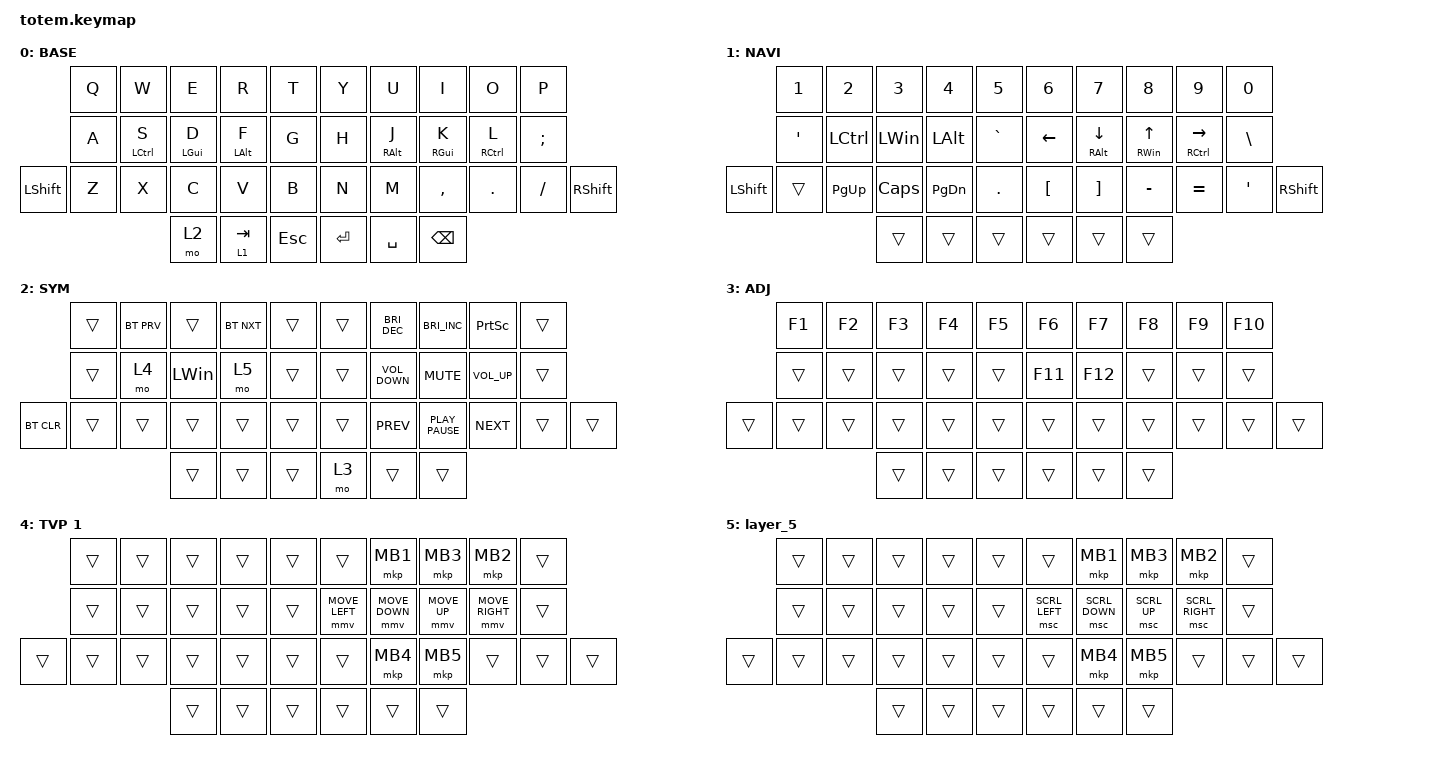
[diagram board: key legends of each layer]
//
//                                                        ▀▀▀▀▀     ▀▀▀▀▀          ▀▀█▀▀
//                                                        ▄▀▀▀▄  ▄  ▄▀▀▀▄  ▄  ▄▀▀▀▄  █  ▄▀▀▀▄
//                                                        █   █  █  █   █  █  █   █  █  █   █
//                                                         ▀▀▀   █   ▀▀▀   █   ▀▀▀   ▀   ▀▀▀
//                                                               █      ▄▄▄█▄▄▄    █   █
//                                                               ▀      █  █  █     █▄█
//                                                             ▀▀▀▀▀    █  █  █      ▀
//                                                                      ▀  ▀  ▀
//
// ▄▄▄▄▄▄▄▄▄▄▄▄▄▄▄▄▄▄▄▄▄▄▄▄▄▄▄▄▄▄▄▄▄▄▄▄▄▄▄▄▄▄▄▄▄▄▄▄▄▄▄▄▄▄▄▄▄▄▄▄▄▄▄▄▄▄▄▄▄▄▄▄▄▄▄▄▄▄▄▄▄▄▄▄▄▄▄▄▄▄▄▄▄▄▄▄▄▄▄▄▄▄▄▄▄▄▄▄▄▄▄▄▄▄▄▄▄▄▄▄▄▄▄▄▄▄▄▄▄▄▄▄▄▄▄▄▄▄▄▄▄▄▄▄▄▄▄▄▄

#define ZMK_POINTING_DEFAULT_MOVE_VAL 1500
#define ZMK_POINTING_DEFAULT_SCRL_VAL 20

#include <behaviors.dtsi>
#include <dt-bindings/zmk/bt.h>
#include <dt-bindings/zmk/keys.h>
#include <dt-bindings/zmk/pointing.h>

#define BASE 0
#define NAV  1
#define SYM  2
#define ADJ  3
#define TVP1 4
#define TVP2 5

&mt {
    quick-tap-ms = <100>;
    global-quick-tap;
    flavor = "tap-preferred";
    tapping-term-ms = <170>;
};

/ {
    combos { compatible = "zmk,combos"; };

    macros {
        gif: gif {
            label = "giphy";
            compatible = "zmk,behavior-macro";
            #binding-cells = <0>;
            bindings =
                <&macro_press>,
                <&kp LSHFT>,
                <&macro_tap>,
                <&kp N2>,
                <&macro_release>,
                <&kp LSHFT>,
                <&macro_tap>,
                <&kp G &kp I &kp F>;
        };
    };

    keymap {
        compatible = "zmk,keymap";

        // ▄▄▄▄▄▄▄▄▄▄▄▄▄▄▄▄▄▄▄▄▄▄▄▄▄▄▄▄▄▄▄▄▄▄▄▄▄▄▄▄▄▄▄▄▄▄▄▄▄▄▄▄▄▄▄▄▄▄▄▄▄▄▄▄▄▄▄▄▄▄▄▄▄▄▄▄▄▄▄▄▄▄▄▄▄▄▄▄▄▄▄▄▄▄▄▄▄▄▄▄▄▄▄▄▄▄▄▄▄▄▄▄▄▄▄▄▄▄▄▄▄▄▄▄▄▄▄▄▄▄▄▄▄▄▄▄▄▄▄▄▄▄▄▄▄▄▄▄▄

        base_layer {
            // ┏━━━━━━━━━━━━━━━━━━━━━━━━━━━━━━━━━━━━━━━┓

            label = "BASE";

            // ┗━━━━━━━━━━━━━━━━━━━━━━━━━━━━━━━━━━━━━━━┛
            //             ┏━━━━━━━━━━━┳━━━━━━━━━━━┳━━━━━━━━━━━┳━━━━━━━━━━━┳━━━━━━━━━━━┓   ┏━━━━━━━━━━━┳━━━━━━━━━━━┳━━━━━━━━━━━┳━━━━━━━━━━━┳━━━━━━━━━━━┓
            //             ┃     Q     ┃     W     ┃     F     ┃     P     ┃     G     ┃   ┃     J     ┃     L     ┃     U     ┃     Y     ┃     ;     ┃
            //             ┣━━━━━━━━━━━╋━━━━━━━━━━━╋━━━━━━━━━━━╋━━━━━━━━━━━╋━━━━━━━━━━━┫   ┣━━━━━━━━━━━╋━━━━━━━━━━━╋━━━━━━━━━━━╋━━━━━━━━━━━╋━━━━━━━━━━━┫
            //             ┃     A     ┃     R     ┃     S     ┃     T     ┃     D     ┃   ┃     H     ┃     N     ┃     E     ┃     I     ┃     O     ┃
            // ┏━━━━━━━━━━━╋━━━━━━━━━━━╋━━━━━━━━━━━╋━━━━━━━━━━━╋━━━━━━━━━━━╋━━━━━━━━━━━┫   ┣━━━━━━━━━━━╋━━━━━━━━━━━╋━━━━━━━━━━━╋━━━━━━━━━━━╋━━━━━━━━━━━╋━━━━━━━━━━━┓
            // ┃     Q     ┃     Z     ┃     X     ┃     C     ┃     V     ┃     B     ┃   ┃     K     ┃     M     ┃     ,     ┃     .     ┃     /     ┃     \     ┃
            // ┗━━━━━━━━━━━┻━━━━━━━━━━━┻━━━━━━━━━━━╋━━━━━━━━━━━╋━━━━━━━━━━━╋━━━━━━━━━━━┫   ┣━━━━━━━━━━━╋━━━━━━━━━━━╋━━━━━━━━━━━╋━━━━━━━━━━━┻━━━━━━━━━━━┻━━━━━━━━━━━┛
            //                                     ┃    DEL    ┃    TAB    ┃    SPC    ┃   ┃   ENTER   ┃           ┃   BSPC    ┃
            //                                     ┗━━━━━━━━━━━┻━━━━━━━━━━━┻━━━━━━━━━━━┛   ┗━━━━━━━━━━━┻━━━━━━━━━━━┻━━━━━━━━━━━┛

            bindings = <
                &kp Q  &kp W               &kp E           &kp R           &kp T         &kp Y    &kp U            &kp I            &kp O                &kp P
                &kp A  &mt LEFT_CONTROL S  &mt LEFT_GUI D  &mt LEFT_ALT F  &kp G         &kp H    &mt RIGHT_ALT J  &mt RIGHT_GUI K  &mt RIGHT_CONTROL L  &kp SEMICOLON
&kp LEFT_SHIFT  &kp Z  &kp X               &kp C           &kp V           &kp B         &kp N    &kp M            &kp COMMA        &kp DOT              &kp FSLH       &kp RIGHT_SHIFT
                                           &mo 2           &lt 1 TAB       &kp ESCAPE    &kp RET  &kp SPACE        &kp BSPC
            >;
        };

        // ▄▄▄▄▄▄▄▄▄▄▄▄▄▄▄▄▄▄▄▄▄▄▄▄▄▄▄▄▄▄▄▄▄▄▄▄▄▄▄▄▄▄▄▄▄▄▄▄▄▄▄▄▄▄▄▄▄▄▄▄▄▄▄▄▄▄▄▄▄▄▄▄▄▄▄▄▄▄▄▄▄▄▄▄▄▄▄▄▄▄▄▄▄▄▄▄▄▄▄▄▄▄▄▄▄▄▄▄▄▄▄▄▄▄▄▄▄▄▄▄▄▄▄▄▄▄▄▄▄▄▄▄▄▄▄▄▄▄▄▄▄▄▄▄▄▄▄▄▄

        nav_layer {
            // ┏━━━━━━━━━━━━━━━━━━━━━━━━━━━━━━━━━━━━━━━┓

            label = "NAVI";

            // ┗━━━━━━━━━━━━━━━━━━━━━━━━━━━━━━━━━━━━━━━┛
            //             ┏━━━━━━━━━━━┳━━━━━━━━━━━┳━━━━━━━━━━━┳━━━━━━━━━━━┳━━━━━━━━━━━┓   ┏━━━━━━━━━━━┳━━━━━━━━━━━┳━━━━━━━━━━━┳━━━━━━━━━━━┳━━━━━━━━━━━┓
            //             ┃           ┃           ┃     UP    ┃           ┃     {     ┃   ┃     }     ┃     7     ┃     8     ┃     9     ┃     +     ┃
            //             ┣━━━━━━━━━━━╋━━━━━━━━━━━╋━━━━━━━━━━━╋━━━━━━━━━━━╋━━━━━━━━━━━┫   ┣━━━━━━━━━━━╋━━━━━━━━━━━╋━━━━━━━━━━━╋━━━━━━━━━━━╋━━━━━━━━━━━┫
            //             ┃   SHIFT   ┃   LEFT    ┃    DOWN   ┃   RIGHT   ┃     [     ┃   ┃     ]     ┃     4     ┃     5     ┃     6     ┃     -     ┃
            // ┏━━━━━━━━━━━╋━━━━━━━━━━━╋━━━━━━━━━━━╋━━━━━━━━━━━╋━━━━━━━━━━━╋━━━━━━━━━━━┫   ┣━━━━━━━━━━━╋━━━━━━━━━━━╋━━━━━━━━━━━╋━━━━━━━━━━━╋━━━━━━━━━━━╋━━━━━━━━━━━┓
            // ┃           ┃           ┃   P UP    ┃  C LOCK   ┃  P DOWN   ┃     (     ┃   ┃     )     ┃     1     ┃     2     ┃     3     ┃     *     ┃           ┃
            // ┗━━━━━━━━━━━┻━━━━━━━━━━━┻━━━━━━━━━━━╋━━━━━━━━━━━╋━━━━━━━━━━━╋━━━━━━━━━━━┫   ┣━━━━━━━━━━━╋━━━━━━━━━━━╋━━━━━━━━━━━╋━━━━━━━━━━━┻━━━━━━━━━━━┻━━━━━━━━━━━┛
            //                                     ┃           ┃    TAB    ┃    SPC    ┃   ┃    DEL    ┃     0     ┃           ┃
            //                                     ┗━━━━━━━━━━━┻━━━━━━━━━━━┻━━━━━━━━━━━┛   ┗━━━━━━━━━━━┻━━━━━━━━━━━┻━━━━━━━━━━━┛

            bindings = <
                &kp NUMBER_1      &kp NUMBER_2      &kp NUMBER_3  &kp NUMBER_4  &kp NUMBER_5    &kp NUMBER_6      &kp N7                    &kp N8                  &kp N9                   &kp N0
                &kp SINGLE_QUOTE  &kp LEFT_CONTROL  &kp LEFT_WIN  &kp LEFT_ALT  &kp GRAVE       &kp LEFT_ARROW    &mt RIGHT_ALT DOWN_ARROW  &mt RIGHT_WIN UP_ARROW  &mt RIGHT_CONTROL RIGHT  &kp BACKSLASH
&kp LEFT_SHIFT  &trans            &kp PG_UP         &kp CAPS      &kp PG_DN     &kp PERIOD      &kp LEFT_BRACKET  &kp RIGHT_BRACKET         &kp MINUS               &kp EQUAL                &kp SINGLE_QUOTE  &kp RIGHT_SHIFT
                                                    &trans        &trans        &trans          &trans            &trans                    &trans
            >;
        };

        // ▄▄▄▄▄▄▄▄▄▄▄▄▄▄▄▄▄▄▄▄▄▄▄▄▄▄▄▄▄▄▄▄▄▄▄▄▄▄▄▄▄▄▄▄▄▄▄▄▄▄▄▄▄▄▄▄▄▄▄▄▄▄▄▄▄▄▄▄▄▄▄▄▄▄▄▄▄▄▄▄▄▄▄▄▄▄▄▄▄▄▄▄▄▄▄▄▄▄▄▄▄▄▄▄▄▄▄▄▄▄▄▄▄▄▄▄▄▄▄▄▄▄▄▄▄▄▄▄▄▄▄▄▄▄▄▄▄▄▄▄▄▄▄▄▄▄▄▄▄

        sim_layer {
            // ┏━━━━━━━━━━━━━━━━━━━━━━━━━━━━━━━━━━━━━━━┓

            label = "SYM";

            // ┗━━━━━━━━━━━━━━━━━━━━━━━━━━━━━━━━━━━━━━━┛
            //             ┏━━━━━━━━━━━┳━━━━━━━━━━━┳━━━━━━━━━━━┳━━━━━━━━━━━┳━━━━━━━━━━━┓   ┏━━━━━━━━━━━┳━━━━━━━━━━━┳━━━━━━━━━━━┳━━━━━━━━━━━┳━━━━━━━━━━━┓
            //             ┃     !     ┃     @     ┃     #     ┃     $     ┃     %     ┃   ┃     ˆ     ┃     &     ┃     Ü     ┃     '     ┃     "     ┃
            //             ┣━━━━━━━━━━━╋━━━━━━━━━━━╋━━━━━━━━━━━╋━━━━━━━━━━━╋━━━━━━━━━━━┫   ┣━━━━━━━━━━━╋━━━━━━━━━━━╋━━━━━━━━━━━╋━━━━━━━━━━━╋━━━━━━━━━━━┫
            //             ┃     Ä     ┃           ┃    SZ     ┃           ┃           ┃   ┃   MUTE    ┃   YEN     ┃   EURO    ┃  POUND    ┃     Ö     ┃
            // ┏━━━━━━━━━━━╋━━━━━━━━━━━╋━━━━━━━━━━━╋━━━━━━━━━━━╋━━━━━━━━━━━╋━━━━━━━━━━━┫   ┣━━━━━━━━━━━╋━━━━━━━━━━━╋━━━━━━━━━━━╋━━━━━━━━━━━╋━━━━━━━━━━━╋━━━━━━━━━━━┓
            // ┃           ┃  EMAIL1   ┃  EMAIL2   ┃           ┃           ┃           ┃   ┃   VOL-    ┃   VOL+    ┃   LAST    ┃   NEXT    ┃     \     ┃           ┃
            // ┗━━━━━━━━━━━┻━━━━━━━━━━━┻━━━━━━━━━━━╋━━━━━━━━━━━╋━━━━━━━━━━━╋━━━━━━━━━━━┫   ┣━━━━━━━━━━━╋━━━━━━━━━━━╋━━━━━━━━━━━╋━━━━━━━━━━━┻━━━━━━━━━━━┻━━━━━━━━━━━┛
            //                                     ┃           ┃    GIF    ┃    ADJ    ┃   ┃           ┃           ┃           ┃
            //                                     ┗━━━━━━━━━━━┻━━━━━━━━━━━┻━━━━━━━━━━━┛   ┗━━━━━━━━━━━┻━━━━━━━━━━━┻━━━━━━━━━━━┛

            bindings = <
            &trans  &bt BT_PRV  &trans        &bt BT_NXT  &trans    &trans  &kp C_BRIGHTNESS_DEC  &kp C_BRIGHTNESS_INC  &kp PRINTSCREEN  &trans
            &trans  &mo 4       &kp LEFT_WIN  &mo 5       &trans    &trans  &kp K_VOLUME_DOWN     &kp K_MUTE            &kp K_VOLUME_UP  &trans
&bt BT_CLR  &trans  &trans      &trans        &trans      &trans    &trans  &kp K_PREV            &kp K_PLAY_PAUSE      &kp K_NEXT       &trans  &trans
                                &trans        &trans      &trans    &mo 3   &trans                &trans
            >;
        };

        // ▄▄▄▄▄▄▄▄▄▄▄▄▄▄▄▄▄▄▄▄▄▄▄▄▄▄▄▄▄▄▄▄▄▄▄▄▄▄▄▄▄▄▄▄▄▄▄▄▄▄▄▄▄▄▄▄▄▄▄▄▄▄▄▄▄▄▄▄▄▄▄▄▄▄▄▄▄▄▄▄▄▄▄▄▄▄▄▄▄▄▄▄▄▄▄▄▄▄▄▄▄▄▄▄▄▄▄▄▄▄▄▄▄▄▄▄▄▄▄▄▄▄▄▄▄▄▄▄▄▄▄▄▄▄▄▄▄▄▄▄▄▄▄▄▄▄▄▄▄

        adjust_layer {
            // ┏━━━━━━━━━━━━━━━━━━━━━━━━━━━━━━━━━━━━━━━┓

            label = "ADJ";

            // ┗━━━━━━━━━━━━━━━━━━━━━━━━━━━━━━━━━━━━━━━┛
            //             ┏━━━━━━━━━━━┳━━━━━━━━━━━┳━━━━━━━━━━━┳━━━━━━━━━━━┳━━━━━━━━━━━┓   ┏━━━━━━━━━━━┳━━━━━━━━━━━┳━━━━━━━━━━━┳━━━━━━━━━━━┳━━━━━━━━━━━┓
            //             ┃   RESET   ┃ BT CLEAR  ┃  OUT TOG  ┃           ┃           ┃   ┃           ┃    F7     ┃    F8     ┃    F9     ┃    F12    ┃
            //             ┣━━━━━━━━━━━╋━━━━━━━━━━━╋━━━━━━━━━━━╋━━━━━━━━━━━╋━━━━━━━━━━━┫   ┣━━━━━━━━━━━╋━━━━━━━━━━━╋━━━━━━━━━━━╋━━━━━━━━━━━╋━━━━━━━━━━━┫
            //             ┃ BOOTLOAD  ┃ BT NEXT   ┃           ┃           ┃           ┃   ┃           ┃    F4     ┃    F5     ┃    F6     ┃    F11    ┃
            // ┏━━━━━━━━━━━╋━━━━━━━━━━━╋━━━━━━━━━━━╋━━━━━━━━━━━╋━━━━━━━━━━━╋━━━━━━━━━━━┫   ┣━━━━━━━━━━━╋━━━━━━━━━━━╋━━━━━━━━━━━╋━━━━━━━━━━━╋━━━━━━━━━━━╋━━━━━━━━━━━┓
            // ┃           ┃           ┃ BT PREV   ┃           ┃           ┃           ┃   ┃           ┃    F1     ┃    F2     ┃    F3     ┃    F10    ┃           ┃
            // ┗━━━━━━━━━━━┻━━━━━━━━━━━┻━━━━━━━━━━━╋━━━━━━━━━━━╋━━━━━━━━━━━╋━━━━━━━━━━━┫   ┣━━━━━━━━━━━╋━━━━━━━━━━━╋━━━━━━━━━━━╋━━━━━━━━━━━┻━━━━━━━━━━━┻━━━━━━━━━━━┛
            //                                     ┃           ┃           ┃           ┃   ┃           ┃           ┃           ┃
            //                                     ┗━━━━━━━━━━━┻━━━━━━━━━━━┻━━━━━━━━━━━┛   ┗━━━━━━━━━━━┻━━━━━━━━━━━┻━━━━━━━━━━━┛

            bindings = <
        &kp F1  &kp F2  &kp F3  &kp F4  &kp F5    &kp F6   &kp F7   &kp F8  &kp F9  &kp F10
        &trans  &trans  &trans  &trans  &trans    &kp F11  &kp F12  &trans  &trans  &trans
&trans  &trans  &trans  &trans  &trans  &trans    &trans   &trans   &trans  &trans  &trans   &trans
                        &trans  &trans  &trans    &trans   &trans   &trans
            >;
        };

        // ▄▄▄▄▄▄▄▄▄▄▄▄▄▄▄▄▄▄▄▄▄▄▄▄▄▄▄▄▄▄▄▄▄▄▄▄▄▄▄▄▄▄▄▄▄▄▄▄▄▄▄▄▄▄▄▄▄▄▄▄▄▄▄▄▄▄▄▄▄▄▄▄▄▄▄▄▄▄▄▄▄▄▄▄▄▄▄▄▄▄▄▄▄▄▄▄▄▄▄▄▄▄▄▄▄▄▄▄▄▄▄▄▄▄▄▄▄▄▄▄▄▄▄▄▄▄▄▄▄▄▄▄▄▄▄▄▄▄▄▄▄▄▄▄▄▄▄▄▄

        tvp1_layer {
            // ┏━━━━━━━━━━━━━━━━━━━━━━━━━━━━━━━━━━━━━━━┓

            label = "TVP 1";

            // ┗━━━━━━━━━━━━━━━━━━━━━━━━━━━━━━━━━━━━━━━┛
            //             ┏━━━━━━━━━━━┳━━━━━━━━━━━┳━━━━━━━━━━━┳━━━━━━━━━━━┳━━━━━━━━━━━┓   ┏━━━━━━━━━━━┳━━━━━━━━━━━┳━━━━━━━━━━━┳━━━━━━━━━━━┳━━━━━━━━━━━┓
            //             ┃   RESET   ┃ BT CLEAR  ┃  OUT TOG  ┃           ┃           ┃   ┃           ┃    F7     ┃    F8     ┃    F9     ┃    F12    ┃
            //             ┣━━━━━━━━━━━╋━━━━━━━━━━━╋━━━━━━━━━━━╋━━━━━━━━━━━╋━━━━━━━━━━━┫   ┣━━━━━━━━━━━╋━━━━━━━━━━━╋━━━━━━━━━━━╋━━━━━━━━━━━╋━━━━━━━━━━━┫
            //             ┃ BOOTLOAD  ┃ BT NEXT   ┃           ┃           ┃           ┃   ┃           ┃    F4     ┃    F5     ┃    F6     ┃    F11    ┃
            // ┏━━━━━━━━━━━╋━━━━━━━━━━━╋━━━━━━━━━━━╋━━━━━━━━━━━╋━━━━━━━━━━━╋━━━━━━━━━━━┫   ┣━━━━━━━━━━━╋━━━━━━━━━━━╋━━━━━━━━━━━╋━━━━━━━━━━━╋━━━━━━━━━━━╋━━━━━━━━━━━┓
            // ┃           ┃           ┃ BT PREV   ┃           ┃           ┃           ┃   ┃           ┃    F1     ┃    F2     ┃    F3     ┃    F10    ┃           ┃
            // ┗━━━━━━━━━━━┻━━━━━━━━━━━┻━━━━━━━━━━━╋━━━━━━━━━━━╋━━━━━━━━━━━╋━━━━━━━━━━━┫   ┣━━━━━━━━━━━╋━━━━━━━━━━━╋━━━━━━━━━━━╋━━━━━━━━━━━┻━━━━━━━━━━━┻━━━━━━━━━━━┛
            //                                     ┃           ┃           ┃           ┃   ┃           ┃           ┃           ┃
            //                                     ┗━━━━━━━━━━━┻━━━━━━━━━━━┻━━━━━━━━━━━┛   ┗━━━━━━━━━━━┻━━━━━━━━━━━┻━━━━━━━━━━━┛

            bindings = <
        &trans  &trans  &trans  &trans  &trans    &trans          &mkp MB1        &mkp MB3      &mkp MB2         &trans
        &trans  &trans  &trans  &trans  &trans    &mmv MOVE_LEFT  &mmv MOVE_DOWN  &mmv MOVE_UP  &mmv MOVE_RIGHT  &trans
&trans  &trans  &trans  &trans  &trans  &trans    &trans          &mkp MB4        &mkp MB5      &trans           &trans  &trans
                        &trans  &trans  &trans    &trans          &trans          &trans
            >;
        };

        // ▄▄▄▄▄▄▄▄▄▄▄▄▄▄▄▄▄▄▄▄▄▄▄▄▄▄▄▄▄▄▄▄▄▄▄▄▄▄▄▄▄▄▄▄▄▄▄▄▄▄▄▄▄▄▄▄▄▄▄▄▄▄▄▄▄▄▄▄▄▄▄▄▄▄▄▄▄▄▄▄▄▄▄▄▄▄▄▄▄▄▄▄▄▄▄▄▄▄▄▄▄▄▄▄▄▄▄▄▄▄▄▄▄▄▄▄▄▄▄▄▄▄▄▄▄▄▄▄▄▄▄▄▄▄▄▄▄▄▄▄▄▄▄▄▄▄▄▄▄

        layer_5 {
            bindings = <
        &trans  &trans  &trans  &trans  &trans    &trans          &mkp MB1        &mkp MB3      &mkp MB2         &trans
        &trans  &trans  &trans  &trans  &trans    &msc SCRL_LEFT  &msc SCRL_DOWN  &msc SCRL_UP  &msc SCRL_RIGHT  &trans
&trans  &trans  &trans  &trans  &trans  &trans    &trans          &mkp MB4        &mkp MB5      &trans           &trans  &trans
                        &trans  &trans  &trans    &trans          &trans          &trans
            >;
        };
    };
};
